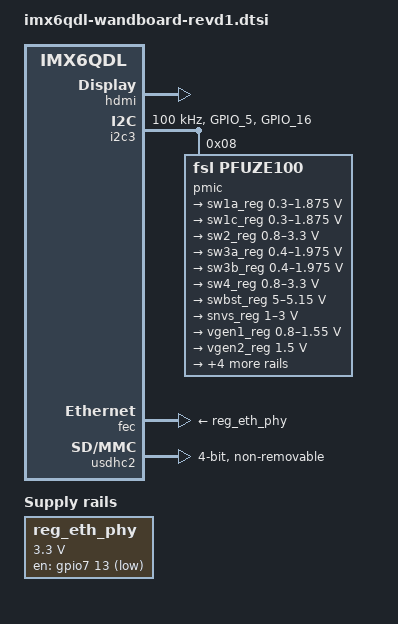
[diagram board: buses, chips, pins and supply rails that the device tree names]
/*
 * Copyright 2013 Freescale Semiconductor, Inc.
 *
 * Author: Fabio Estevam <fabio.estevam@freescale.com>
 *
 * This program is free software; you can redistribute it and/or modify
 * it under the terms of the GNU General Public License version 2 as
 * published by the Free Software Foundation.
 *
 */

#include "imx6qdl-wandboard.dtsi"

/ {
	reg_eth_phy: regulator-eth-phy {
		compatible = "regulator-fixed";
		regulator-name = "ETH_PHY";
		regulator-min-microvolt = <3300000>;
		regulator-max-microvolt = <3300000>;
		gpio = <&gpio7 13 GPIO_ACTIVE_LOW>;
	};
};

&hdmi {
	ddc-i2c-bus = <&i2c2>;
	status = "okay";
};

&i2c3 {
	clock-frequency = <100000>;
	pinctrl-names = "default";
	pinctrl-0 = <&pinctrl_i2c3>;
	status = "okay";

	pmic: pfuze100@8 {
		compatible = "fsl,pfuze100";
		reg = <0x08>;

		regulators {
			sw1a_reg: sw1ab {
				regulator-min-microvolt = <300000>;
				regulator-max-microvolt = <1875000>;
				regulator-boot-on;
				regulator-always-on;
				regulator-ramp-delay = <6250>;
			};

			sw1c_reg: sw1c {
				regulator-min-microvolt = <300000>;
				regulator-max-microvolt = <1875000>;
				regulator-boot-on;
				regulator-always-on;
				regulator-ramp-delay = <6250>;
			};

			sw2_reg: sw2 {
				regulator-min-microvolt = <800000>;
				regulator-max-microvolt = <3300000>;
				regulator-boot-on;
				regulator-always-on;
				regulator-ramp-delay = <6250>;
			};

			sw3a_reg: sw3a {
				regulator-min-microvolt = <400000>;
				regulator-max-microvolt = <1975000>;
				regulator-boot-on;
				regulator-always-on;
			};

			sw3b_reg: sw3b {
				regulator-min-microvolt = <400000>;
				regulator-max-microvolt = <1975000>;
				regulator-boot-on;
				regulator-always-on;
			};

			sw4_reg: sw4 {
				regulator-min-microvolt = <800000>;
				regulator-max-microvolt = <3300000>;
			};

			swbst_reg: swbst {
				regulator-min-microvolt = <5000000>;
				regulator-max-microvolt = <5150000>;
			};

			snvs_reg: vsnvs {
				regulator-min-microvolt = <1000000>;
				regulator-max-microvolt = <3000000>;
				regulator-boot-on;
				regulator-always-on;
			};

			vref_reg: vrefddr {
				regulator-boot-on;
				regulator-always-on;
			};

			vgen1_reg: vgen1 {
				regulator-min-microvolt = <800000>;
				regulator-max-microvolt = <1550000>;
			};

			vgen2_reg: vgen2 {
				regulator-min-microvolt = <1500000>;
				regulator-max-microvolt = <1500000>;
				regulator-boot-on;
				regulator-always-on;
			};

			vgen3_reg: vgen3 {
				regulator-min-microvolt = <1800000>;
				regulator-max-microvolt = <3300000>;
				regulator-always-on;
			};

			vgen4_reg: vgen4 {
				regulator-min-microvolt = <1800000>;
				regulator-max-microvolt = <3300000>;
				regulator-always-on;
			};

			vgen5_reg: vgen5 {
				regulator-min-microvolt = <1800000>;
				regulator-max-microvolt = <3300000>;
				regulator-always-on;
			};

			vgen6_reg: vgen6 {
				regulator-min-microvolt = <1800000>;
				regulator-max-microvolt = <3300000>;
				regulator-always-on;
			};
		};
	};
};

&fec {
	phy-supply = <&reg_eth_phy>;
	status = "okay";
};

&iomuxc {
	pinctrl-0 = <&pinctrl_hog>;

	imx6qdl-wandboard {
		pinctrl_hog: hoggrp {
			fsl,pins = <
				MX6QDL_PAD_GPIO_0__CCM_CLKO1     	0x130b0
				MX6QDL_PAD_EIM_D22__USB_OTG_PWR		0x80000000	/* USB Power Enable */
				MX6QDL_PAD_GPIO_2__GPIO1_IO02		0x80000000	/* USDHC1 CD */
				MX6QDL_PAD_EIM_DA9__GPIO3_IO09		0x80000000	/* uSDHC3 CD */
				MX6QDL_PAD_EIM_D29__GPIO3_IO29   	0x1f0b1		/* RGMII PHY reset */
			>;
		};

		pinctrl_enet: enetgrp {
			fsl,pins = <
				MX6QDL_PAD_ENET_MDIO__ENET_MDIO		0x1b0b0
				MX6QDL_PAD_ENET_MDC__ENET_MDC		0x1b0b0
				MX6QDL_PAD_RGMII_TXC__RGMII_TXC		0x1b030
				MX6QDL_PAD_RGMII_TD0__RGMII_TD0		0x1b030
				MX6QDL_PAD_RGMII_TD1__RGMII_TD1		0x1b030
				MX6QDL_PAD_RGMII_TD2__RGMII_TD2		0x1b030
				MX6QDL_PAD_RGMII_TD3__RGMII_TD3		0x1b030
				MX6QDL_PAD_RGMII_TX_CTL__RGMII_TX_CTL	0x1b030
				MX6QDL_PAD_ENET_REF_CLK__ENET_TX_CLK	0x1b0b0
				MX6QDL_PAD_RGMII_RXC__RGMII_RXC		0x1b030
				MX6QDL_PAD_RGMII_RD0__RGMII_RD0		0x1b030
				MX6QDL_PAD_RGMII_RD1__RGMII_RD1		0x1b030
				MX6QDL_PAD_RGMII_RD2__RGMII_RD2		0x1b030
				MX6QDL_PAD_RGMII_RD3__RGMII_RD3		0x1b030
				MX6QDL_PAD_RGMII_RX_CTL__RGMII_RX_CTL	0x1b030
				MX6QDL_PAD_GPIO_6__ENET_IRQ		0x000b1
			>;
		};

		pinctrl_i2c3: i2c3grp {
			fsl,pins = <
				MX6QDL_PAD_GPIO_5__I2C3_SCL		0x4001b8b1
				MX6QDL_PAD_GPIO_16__I2C3_SDA		0x4001b8b1
			>;
		};

		pinctrl_spdif: spdifgrp {
			fsl,pins = <
				MX6QDL_PAD_GPIO_19__SPDIF_OUT		0x1b0b0
			>;
		};
	};
};

&usdhc2 {
	pinctrl-names = "default";
	pinctrl-0 = <&pinctrl_usdhc2>;
	bus-width = <4>;
	no-1-8-v;
	non-removable;
	status = "okay";
};
